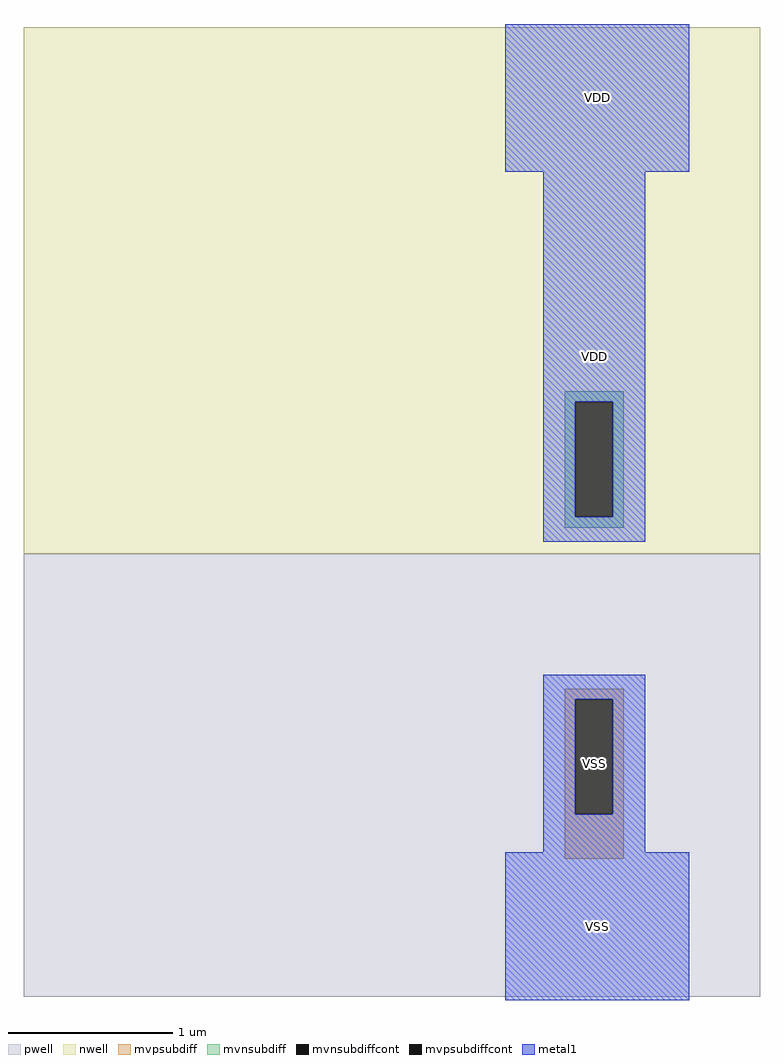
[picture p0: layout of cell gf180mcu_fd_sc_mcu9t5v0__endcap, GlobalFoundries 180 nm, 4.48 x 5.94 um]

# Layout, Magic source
magic
tech gf180mcuD
magscale 1 10
<< nwell >>
rect -586 453 310 1094
<< pwell >>
rect -586 -86 310 453
<< mvpsubdiff >>
rect 72 276 144 289
rect 72 136 85 276
rect 131 136 144 276
rect 72 82 144 136
<< mvnsubdiff >>
rect 72 638 144 651
rect 72 498 85 638
rect 131 498 144 638
rect 72 485 144 498
<< mvpsubdiffcont >>
rect 85 136 131 276
<< mvnsubdiffcont >>
rect 85 498 131 638
<< metal1 >>
rect 0 918 224 1098
rect 46 638 170 918
rect 46 498 85 638
rect 131 498 170 638
rect 46 468 170 498
rect 46 276 170 306
rect 46 136 85 276
rect 131 136 170 276
rect 46 90 170 136
rect 0 -90 224 90
<< labels >>
flabel metal1 s 46 90 170 306 0 FreeSans 200 0 0 0 VSS
port 4 nsew ground bidirectional abutment
flabel metal1 s 0 918 224 1098 0 FreeSans 200 0 0 0 VDD
port 1 nsew power bidirectional abutment
rlabel metal1 s 46 468 170 918 1 VDD
port 1 nsew power bidirectional abutment
rlabel metal1 s 0 -90 224 90 1 VSS
port 2 nsew ground bidirectional abutment
<< properties >>
string FIXED_BBOX 0 0 224 1008
string GDS_END 765052
string GDS_FILE $PDKPATH/libs.ref/gf180mcu_fd_sc_mcu9t5v0/gds/gf180mcu_fd_sc_mcu9t5v0.gds
string GDS_START 763402
string LEFclass ENDCAP PRE
string LEFsite GF018hv5v_green_sc9
string LEFsymmetry X Y
string MASKHINTS_DUALGATE -56 699 280 1064 -56 437 24 699 192 437 280 699 -56 337 280 437 -56 34 24 337 192 34 280 337 -56 -56 280 34
string MASKHINTS_NPLUS 40 657 176 683 40 571 66 657 150 571 176 657 -40 321 264 453 -40 50 40 321 176 50 264 321 -40 -40 264 50
string MASKHINTS_PPLUS -40 683 264 1048 -40 453 40 683 176 453 264 683 40 295 176 321 40 117 66 295 150 117 176 295 40 78 68 117 148 78 176 117 40 50 176 78
<< end >>
